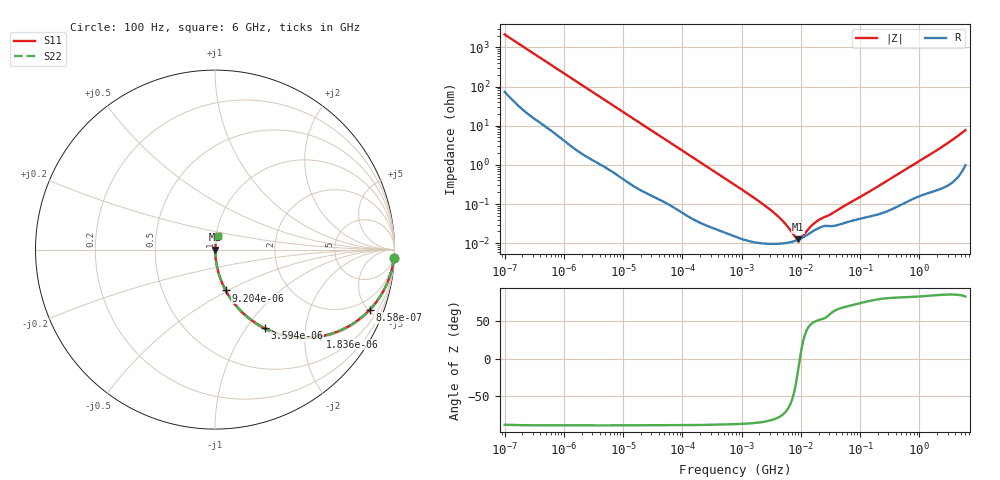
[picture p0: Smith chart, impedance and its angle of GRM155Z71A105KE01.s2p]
!Murata Part Number: GRM155Z71A105KE01
!These Parameters are Measured in Series Mode Connection
!Data Generated on Mar 30, 2021
!  o--ll--o
!Port1  Port2
!  o------o
!Operation Temp=25[degC], DC Bias Voltage=0[V]
!Freq. Start=100[Hz] Stop=6[GHz] 401[Steps]
# Hz S RI R 50
!Freq.(Hz) S11(Real) S11(Imag) S21(Real) S21(Imag) S12(Real) S12(Imag) S22(Real) S22(Imag)
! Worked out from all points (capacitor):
!   401 points, 100 Hz to 6 GHz, reference 50 ohm
!   read as one part in series: C = 745 nF near 109 Hz
!   lowest |Z| = 12.6 mohm at 9.09 MHz (marker M1)
!   series resonance near 9.651 MHz, so ESL is about 370 pH
!   S11 on the Smith chart (normalised r, x): 100 Hz: 2, -43; 858 Hz: 1.10, -5.08; 1.836 kHz: 1.04, -2.39; 3.594 kHz: 1.02, -1.23; 9.204 kHz: 1.01, -0.49; 6 GHz: 1.02, +0.15
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100  0.9962 -0.0467  0.0038 0.0467  0.0038 0.0467  0.9962 -0.0467
320  0.9753 -0.1446  0.0247 0.1446  0.0247 0.1446  0.9753 -0.1446
858  0.8611 -0.3361  0.1389 0.3361  0.1389 0.3361  0.8611 -0.3361
1836  0.5871 -0.4837  0.4129 0.4837  0.4129 0.4837  0.5871 -0.4837
2008  0.5443 -0.4893  0.4557 0.4893  0.4557 0.4893  0.5443 -0.4893
3594  0.2782 -0.4389  0.7218 0.4389  0.7218 0.4389  0.2782 -0.4389
5625  0.14 -0.3374  0.86 0.3374  0.86 0.3374  0.14 -0.3374
9204  0.0598 -0.2276  0.9402 0.2276  0.9402 0.2276  0.0598 -0.2276
18016  0.0177 -0.1226  0.9823 0.1226  0.9823 0.1226  0.0177 -0.1226
40335  0.00448 -0.0561  0.9955 0.0561  0.9955 0.0561  0.00448 -0.0561
774597  0.000157 -0.00305  0.9998 0.00305  0.9998 0.00305  0.000157 -0.00305
3549919  9.62e-05 -0.000585  0.9999 0.000585  0.9999 0.000585  9.62e-05 -0.000585
5311619  9.99e-05 -0.000315  0.9999 0.000315  0.9999 0.000315  9.99e-05 -0.000315
7947587  0.000114 -9.59e-05  0.9999 9.59e-05  0.9999 9.59e-05  0.000114 -9.59e-05
9090158  0.000123 -2.91e-05  0.9999 2.91e-05  0.9999 2.91e-05  0.000123 -2.91e-05
1.039699e7  0.000135 3.6e-05  0.9999 -3.6e-05  0.9999 -3.6e-05  0.000135 3.6e-05
1.555665e7  0.000198 0.000213  0.9998 -0.000213  0.9998 -0.000213  0.000198 0.000213
2.128304e7  0.000253 0.000325  0.9997 -0.000325  0.9997 -0.000325  0.000253 0.000325
3.184506e7  0.000273 0.000473  0.9997 -0.000473  0.9997 -0.000473  0.000273 0.000473
3.124326e8  0.000706 0.0042  0.9993 -0.0042  0.9993 -0.0042  0.000706 0.0042
1.873145e9  0.00266 0.0221  0.9973 -0.0221  0.9973 -0.0221  0.00266 0.0221
6e9  0.0154 0.0747  0.9846 -0.0747  0.9846 -0.0747  0.0154 0.0747
